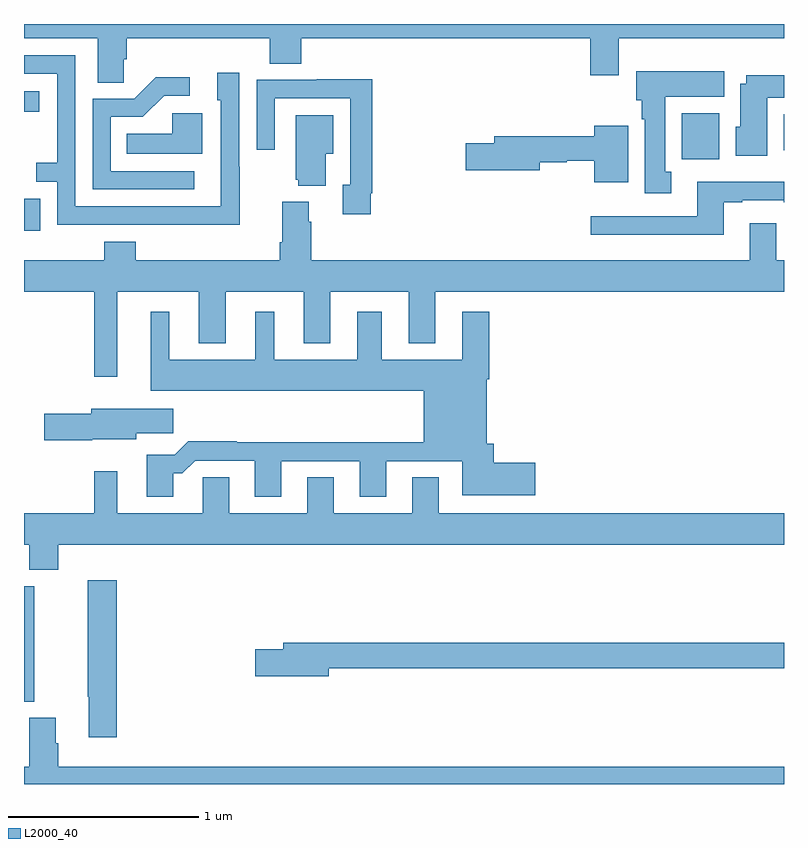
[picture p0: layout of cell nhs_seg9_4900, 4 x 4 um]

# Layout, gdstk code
import gdstk
lib = gdstk.Library(unit=1e-6, precision=1e-09)
def R(c, l, rs):  # rectangles x0, y0, x1, y1
    for r in rs: c.add(gdstk.rectangle(r[:2], r[2:], *l))
def P(c, l, *ps):  # polygons
    for p in ps: c.add(gdstk.Polygon(p, *l))
L2000_40 = (2000, 40)

nhs_seg9_4900 = lib.new_cell('nhs_seg9_4900')
R(nhs_seg9_4900, L2000_40, [(395,1188.933,395.053,1189.542), (395,1191.411,395.085,1191.579), (398.462,1191.788,398.659,1192.03), (398.999,1191.836,399,1192.024), (395,1192.037,395.08,1192.147)])
P(nhs_seg9_4900, L2000_40, [(395.526,1192.315),(395.54,1192.315),(395.54,1192.424),(396.293,1192.424),(396.293,1192.291),(396.458,1192.291),(396.458,1192.424),(397.979,1192.424),(397.979,1192.23),(398.131,1192.23),(398.131,1192.424),(399,1192.424),(399,1192.5),(395,1192.5),(395,1192.424),(395.387,1192.424),(395.387,1192.192),(395.526,1192.192)],
  [(396.135,1191.749),(396.132,1191.749),(396.132,1192.243),(396.017,1192.243),(396.017,1192.098),(396.036,1192.098),(396.036,1191.794),(396.035,1191.794),(396.035,1191.54),(395.271,1191.54),(395.271,1192.335),(395,1192.335),(395,1192.239),(395.175,1192.239),(395.175,1191.77),(395.065,1191.77),(395.065,1191.669),(395.175,1191.669),(395.175,1191.444),(395.671,1191.444),(395.671,1191.443),(396.135,1191.443)],
  [(398.407,1191.722),(398.374,1191.722),(398.374,1192.118),(398.686,1192.118),(398.686,1192.252),(398.222,1192.252),(398.222,1192.098),(398.252,1192.098),(398.252,1191.998),(398.267,1191.998),(398.267,1191.609),(398.407,1191.609)],
  [(398.911,1192.112),(399,1192.112),(399,1192.231),(398.801,1192.231),(398.801,1192.186),(398.771,1192.186),(398.771,1191.96),(398.747,1191.96),(398.747,1191.806),(398.911,1191.806)],
  [(395.896,1191.726),(395.457,1191.726),(395.457,1192.011),(395.626,1192.011),(395.737,1192.122),(395.872,1192.122),(395.872,1192.22),(395.693,1192.22),(395.58,1192.107),(395.361,1192.107),(395.361,1191.63),(395.896,1191.63)],
  [(396.826,1191.61),(396.833,1191.61),(396.833,1192.208),(396.541,1192.208),(396.541,1192.206),(396.225,1192.206),(396.225,1191.837),(396.321,1191.837),(396.321,1192.11),(396.717,1192.11),(396.717,1191.654),(396.677,1191.654),(396.677,1191.498),(396.826,1191.498)],
  [(395.938,1192.03),(395.781,1192.03),(395.781,1191.922),(395.542,1191.922),(395.542,1191.818),(395.938,1191.818)],
  [(396.589,1191.818),(396.628,1191.818),(396.628,1192.021),(396.431,1192.021),(396.431,1191.681),(396.443,1191.681),(396.443,1191.65),(396.589,1191.65)],
  [(398.179,1191.964),(398,1191.964),(398,1191.908),(397.475,1191.908),(397.475,1191.872),(397.326,1191.872),(397.326,1191.73),(397.714,1191.73),(397.714,1191.772),(397.857,1191.772),(397.857,1191.78),(398,1191.78),(398,1191.668),(398.179,1191.668)],
  [(398.683,1191.561),(398.779,1191.561),(398.779,1191.573),(398.999,1191.573),(398.999,1191.561),(399,1191.561),(399,1191.67),(398.543,1191.67),(398.543,1191.489),(397.983,1191.489),(397.983,1191.392),(398.683,1191.392)],
  [(396.512,1191.458),(396.499,1191.458),(396.499,1191.565),(396.359,1191.565),(396.359,1191.352),(396.347,1191.352),(396.347,1191.256),(395.588,1191.256),(395.588,1191.355),(395.423,1191.355),(395.423,1191.256),(395,1191.256),(395,1191.092),(395.37,1191.092),(395.37,1190.643),(395.491,1190.643),(395.491,1191.092),(395.921,1191.092),(395.921,1190.819),(396.061,1190.819),(396.061,1191.092),(396.473,1191.092),(396.473,1190.819),(396.613,1190.819),(396.613,1191.092),(397.025,1191.092),(397.025,1190.819),(397.165,1190.819),(397.165,1191.092),(399,1191.092),(399,1191.256),(398.959,1191.256),(398.959,1191.451),(398.819,1191.451),(398.819,1191.256),(396.512,1191.256)],
  [(395.785,1190.135),(395.834,1190.135),(395.901,1190.202),(396.215,1190.202),(396.215,1190.013),(396.355,1190.013),(396.355,1190.199),(396.767,1190.199),(396.767,1190.013),(396.907,1190.013),(396.907,1190.199),(397.307,1190.199),(397.307,1190.021),(397.69,1190.021),(397.69,1190.192),(397.472,1190.192),(397.472,1190.292),(397.435,1190.292),(397.435,1190.63),(397.448,1190.63),(397.448,1190.986),(397.307,1190.986),(397.307,1190.734),(396.883,1190.734),(396.883,1190.986),(396.755,1190.986),(396.755,1190.734),(396.316,1190.734),(396.316,1190.986),(396.218,1190.986),(396.218,1190.734),(395.764,1190.734),(395.764,1190.986),(395.666,1190.986),(395.666,1190.57),(397.103,1190.57),(397.103,1190.3),(396.119,1190.3),(396.119,1190.303),(395.864,1190.303),(395.794,1190.233),(395.645,1190.233),(395.645,1190.013),(395.785,1190.013)],
  [(395.358,1190.315),(395.59,1190.315),(395.59,1190.347),(395.785,1190.347),(395.785,1190.476),(395.354,1190.476),(395.354,1190.45),(395.106,1190.45),(395.106,1190.308),(395.358,1190.308)],
  [(395.18,1189.76),(399,1189.76),(399,1189.924),(397.183,1189.924),(397.183,1190.114),(397.043,1190.114),(397.043,1189.924),(396.631,1189.924),(396.631,1190.114),(396.491,1190.114),(396.491,1189.924),(396.079,1189.924),(396.079,1190.114),(395.94,1190.114),(395.94,1189.924),(395.491,1189.924),(395.491,1190.146),(395.37,1190.146),(395.37,1189.924),(395,1189.924),(395,1189.76),(395.027,1189.76),(395.027,1189.627),(395.18,1189.627)],
  [(395.489,1189.573),(395.335,1189.573),(395.335,1188.959),(395.342,1188.959),(395.342,1188.747),(395.489,1188.747)],
  [(396.604,1189.108),(399,1189.108),(399,1189.244),(396.365,1189.244),(396.365,1189.208),(396.216,1189.208),(396.216,1189.066),(396.604,1189.066)],
  [(399,1188.592),(395.18,1188.592),(395.18,1188.714),(395.167,1188.714),(395.167,1188.848),(395.027,1188.848),(395.027,1188.592),(395,1188.592),(395,1188.5),(399,1188.5)])

lib.write_gds('nhs_seg9_4900.gds')
